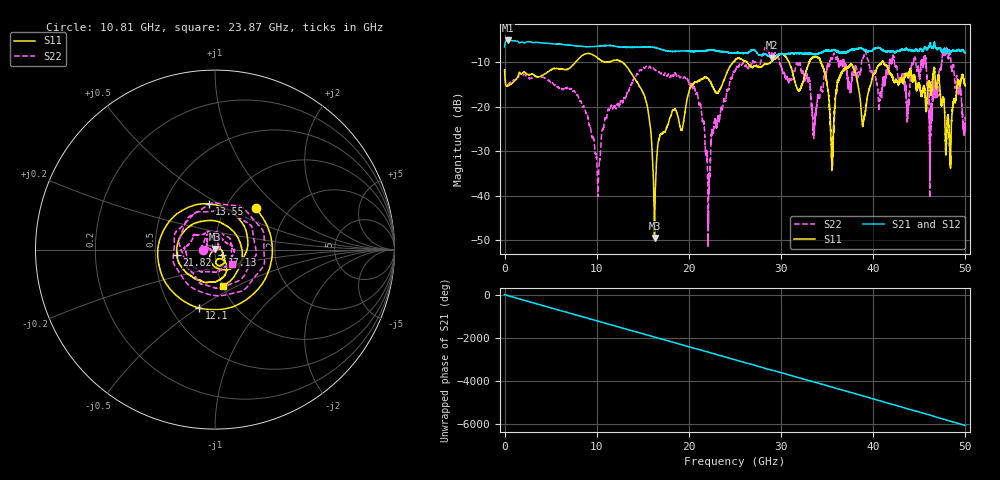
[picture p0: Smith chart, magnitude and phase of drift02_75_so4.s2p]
!Created with skrf (http://scikit-rf.org).
# Hz S RI R 50.0
!freq ReS11 ImS11 ReS21 ImS21 ReS12 ImS12 ReS22 ImS22
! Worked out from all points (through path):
!   10001 points, 300 kHz to 50 GHz, reference 50 ohm
!   highest |S21| = -5.04 dB at 325.3 MHz (marker M1); lowest = -8.9 dB at 28.98 GHz (marker M2)
!   group delay of S21, straight-line fit = 336 ps
!   lowest |S11| = -49.6 dB at 16.27 GHz (marker M3), VSWR 1.01, Z = 49.9 + j0.312 ohm
!   |S11| at or under -10 dB: start of sweep to 7.669 GHz; 12.81 GHz to 24.78 GHz (11.96 GHz wide, 63.6 % of centre); 41.14 GHz to end of sweep (the widest 3 of 14)
!   |S22| runs from -51.4 to -6.7 dB; largest |S21 - S12| = 0.033
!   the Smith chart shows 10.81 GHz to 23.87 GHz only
!   S11 on the Smith chart (normalised r, x): 10.81 GHz: 1.38, +0.70; 12.1 GHz: 0.69, -0.50; 13.55 GHz: 0.83, +0.45; 17.13 GHz: 1.08, -0.06; 21.82 GHz: 0.65, -0.04; 23.87 GHz: 1.00, -0.42
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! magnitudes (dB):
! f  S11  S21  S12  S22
! 300 kHz  -11.7  -6.5  -6.5  -11.7
! 325.3 MHz  -15.3  -5.0  -5.0  -15.1
! 8.335 GHz  -8.6  -6.4  -6.4  -19.1
! 10.11 GHz  -9.0  -6.3  -6.3  -38.9
! 10.81 GHz  -9.9  -6.2  -6.2  -23.6
! 12.1 GHz  -9.5  -6.4  -6.4  -20.4
! 13.55 GHz  -11.8  -6.6  -6.6  -15.8
! 16.27 GHz  -49.6  -6.6  -6.6  -11.7
! 16.67 GHz  -27.9  -6.8  -6.8  -12.1
! 17.13 GHz  -26.0  -7.1  -7.1  -12.3
! 21.82 GHz  -13.3  -7.3  -7.3  -30.0
! 23.87 GHz  -13.7  -7.6  -7.5  -18.3
! 25 GHz  -9.5  -7.8  -7.8  -12.0
! 28.98 GHz  -9.8  -8.9  -8.9  -8.0
! 33.34 GHz  -9.1  -8.0  -8.0  -20.5
! 35.55 GHz  -32.9  -7.3  -7.3  -9.2
! 36.78 GHz  -11.9  -7.8  -7.9  -9.4
! 41.67 GHz  -11.9  -7.4  -7.5  -11.8
! 45.5 GHz  -15.4  -7.0  -7.0  -9.7
! 46.25 GHz  -17.3  -6.1  -6.1  -23.1
! 48.13 GHz  -22.0  -7.2  -7.1  -9.1
! 50 GHz  -15.2  -7.8  -7.9  -22.7
